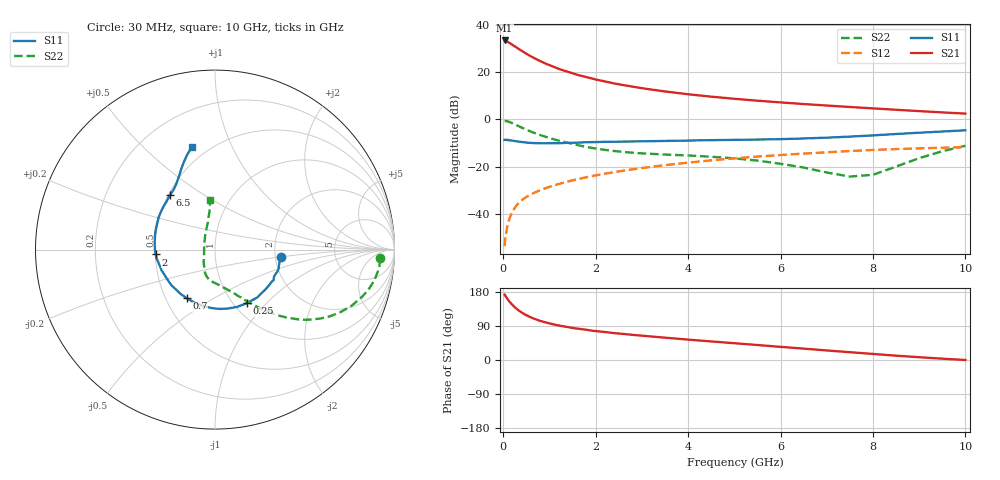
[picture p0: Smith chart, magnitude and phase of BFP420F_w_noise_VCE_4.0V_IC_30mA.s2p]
! Infineon Technologies  Discrete & RF Semiconductors
! BFP420F
! VCE =  4.0 V,  IC =  30 mA
! Common Emitter S-Parameters:  Sep 2011
# GHz  S  MA  R  50
!  f  S11  S21  S12  S22
! GHz  MAG  ANG  MAG  ANG  MAG  ANG  MAG  ANG
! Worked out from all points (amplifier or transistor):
!   54 points, 30 MHz to 10 GHz, reference 50 ohm
!   highest |S21| = 33.3 dB at 30 MHz (marker M1)
!   |S21| within 3 dB of that: start of sweep to 290.5 MHz
!   unconditionally stable (mu >= 1): 1.519 GHz to end of sweep
!   at 120 MHz: K = 0.44, MSG = 37.6 dB, |S12| = -42.9 dB
!   at 1.3 GHz: K = 0.95, MSG = 23.7 dB, |S12| = -26.8 dB
!   at 10 GHz: K = 1.22, MAG = 4.2 dB, |S12| = -11.7 dB
!   lowest NFmin = 1.81 dB at 450 MHz
!   S11 on the Smith chart (normalised r, x): 30 MHz: 2.14, -0.21; 250 MHz: 1.15, -0.78; 700 MHz: 0.64, -0.38; 2 GHz: 0.50, -0.03; 6.5 GHz: 0.51, +0.37; 10 GHz: 0.41, +0.72
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0.03  0.3684 -6.7  46.08 172.6  0.0021 66.1  0.9209 -3.0
0.05  0.3661 -11.1  45.02 168.5  0.0036 75.4  0.9206 -5.7
0.07  0.3697 -17.7  44.49 165.2  0.0042 73.6  0.9129 -8.4
0.12  0.362 -30.2  41.85 156.3  0.0072 73.7  0.8843 -14.4
0.2  0.3554 -48.7  37.22 145.3  0.0113 73.0  0.8226 -22.4
0.25  0.3475 -59.2  34.48 139.3  0.0135 71.6  0.7809 -26.5
0.35  0.3361 -77.7  29.88 129.4  0.0177 68.9  0.7027 -33.1
0.45  0.3269 -92.6  25.97 121.6  0.0213 67.2  0.6351 -38.0
0.6  0.317 -110.7  21.25 112.4  0.026 66.0  0.5481 -43.6
0.7  0.3132 -120.1  18.93 107.5  0.029 65.6  0.5041 -46.5
0.9  0.3109 -135.0  15.23 99.8  0.0346 65.3  0.4316 -51.0
1.1  0.3131 -146.3  12.71 93.7  0.0403 65.2  0.3769 -54.9
1.3  0.3152 -154.9  10.78 88.9  0.0458 65.1  0.336 -58.4
1.7  0.3241 -167.9  8.206 81.3  0.0569 64.5  0.2731 -65.3
2  0.3305 -175.3  6.907 76.4  0.0654 63.7  0.2414 -70.9
2.6  0.3387 173.9  5.264 68.8  0.0822 61.8  0.2041 -81.2
3.5  0.3489 160.9  3.866 58.9  0.1076 57.6  0.1803 -94.2
5.5  0.3734 140.5  2.469 39.5  0.1631 45.8  0.1343 -115.4
6.5  0.3937 129.4  2.099 30.0  0.1888 39.3  0.0957 -131.5
7  0.409 123.7  1.949 25.2  0.2011 36.0  0.0754 -144.9
8.5  0.4892 112.5  1.588 11.4  0.2351 25.4  0.1004 122.4
10  0.586 102.6  1.318 0.0  0.2588 15.9  0.276 95.3
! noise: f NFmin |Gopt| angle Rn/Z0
0.45  1.81  0.29  -175  0.14
0.9  1.82  0.3  -173  0.14
1.9  1.95  0.35  -164  0.14
2.4  2.01  0.35  -158  0.12
3.5  2.25  0.35  -146  0.18
